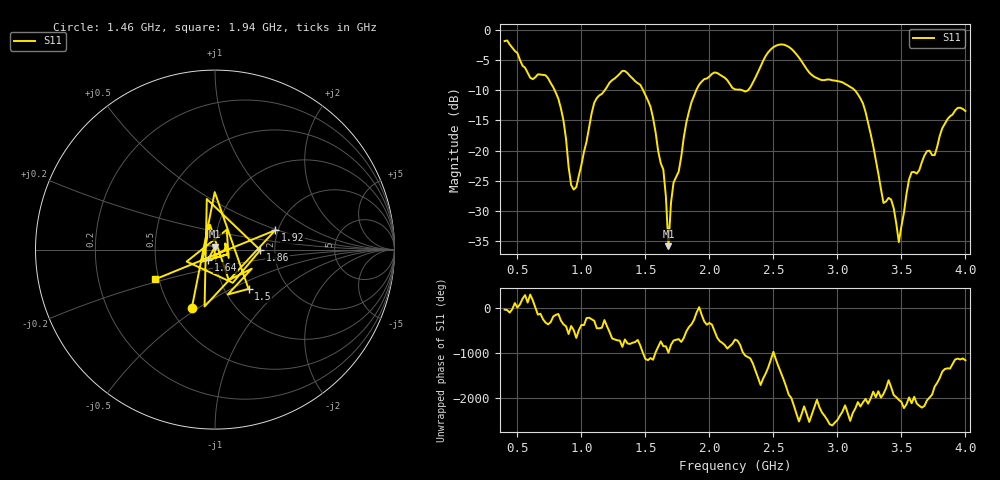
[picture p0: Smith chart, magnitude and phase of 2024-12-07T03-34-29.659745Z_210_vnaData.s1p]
!Created with skrf (http://scikit-rf.org).
# Hz S RI R 50.0
!freq ReS11 ImS11
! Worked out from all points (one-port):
!   181 points, 400 MHz to 4 GHz, reference 50 ohm
!   lowest |S11| = -35.9 dB at 1.68 GHz (marker M1), VSWR 1.03, Z = 49.9 + j1.61 ohm
!   |S11| at or under -10 dB: 791.4 MHz to 1.182 GHz (390.7 MHz wide, 39.6 % of centre); 1.482 GHz to 1.897 GHz (414.5 MHz wide, 24.5 % of centre); 3.137 GHz to end of sweep (the widest 3 of 4)
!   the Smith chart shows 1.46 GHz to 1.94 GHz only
!   S11 on the Smith chart (normalised r, x): 1.46 GHz: 0.63, -0.47; 1.5 GHz: 1.29, -0.62; 1.64 GHz: 0.92, -0.11; 1.86 GHz: 1.67, -0.01; 1.92 GHz: 1.93, +0.48; 1.94 GHz: 0.48, -0.18
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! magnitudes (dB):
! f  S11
! 400 MHz  -1.8
! 600 MHz  -7.9
! 740 MHz  -8.0
! 860 MHz  -15.0
! 940 MHz  -26.5
! 1.1 GHz  -12.1
! 1.3 GHz  -7.2
! 1.46 GHz  -9.1
! 1.5 GHz  -10.8
! 1.64 GHz  -23.1
! 1.68 GHz  -35.9
! 1.72 GHz  -25.3
! 1.76 GHz  -23.5
! 1.86 GHz  -12.0
! 1.92 GHz  -9.0
! 1.94 GHz  -8.5
! 2.2 GHz  -9.8
! 2.3 GHz  -10.0
! 2.5 GHz  -2.8
! 2.66 GHz  -3.5
! 3.1 GHz  -9.4
! 3.2 GHz  -12.2
! 3.36 GHz  -28.7
! 3.42 GHz  -28.1
! 3.48 GHz  -35.2
! 3.56 GHz  -24.8
! 3.86 GHz  -14.8
! 4 GHz  -13.4
